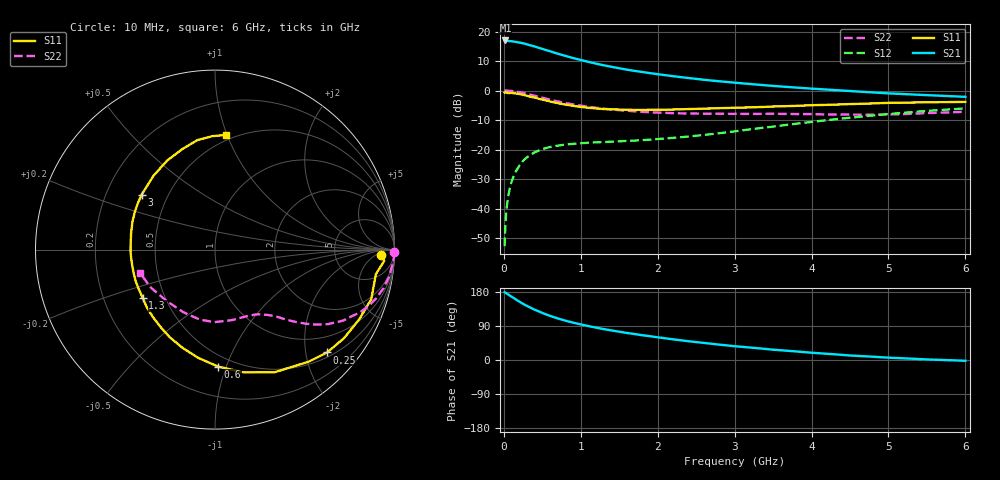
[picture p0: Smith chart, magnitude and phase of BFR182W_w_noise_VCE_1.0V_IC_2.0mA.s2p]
! Infineon Technologies  Discrete & RF Semiconductors
! BFR182W
! VCE =  1.0 V,  IC =  2.0 mA
! Common Emitter S-Parameters:  Jan 2017
# GHz  S  MA  R  50
!  f  S11  S21  S12  S22
! GHz  MAG  ANG  MAG  ANG  MAG  ANG  MAG  ANG
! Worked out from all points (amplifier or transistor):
!   77 points, 10 MHz to 6 GHz, reference 50 ohm
!   highest |S21| = 17.0 dB at 20 MHz (marker M1)
!   |S21| within 3 dB of that: start of sweep to 517.4 MHz
!   unconditionally stable (mu >= 1): 1.701 GHz to 3.509 GHz
!   at 130 MHz: K = 0.09, MSG = 22.7 dB, |S12| = -28.9 dB
!   at 2.2 GHz: K = 1.11, MAG = 8.5 dB, |S12| = -16.0 dB
!   at 6 GHz: K = 0.89, MSG = 2.0 dB, |S12| = -6.1 dB
!   lowest NFmin = 0.85 dB at 450 MHz
!   S11 on the Smith chart (normalised r, x): 10 MHz: 22, -9; 250 MHz: 0.60, -2.44; 600 MHz: 0.41, -0.94; 1.3 GHz: 0.37, -0.26; 3 GHz: 0.36, +0.30; 6 GHz: 0.46, +0.99
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0.01  0.9249 -1.9  6.927 178.9  0.0023 89.0  1 -0.8
0.02  0.945 -3.8  7.051 177.7  0.0053 94.3  0.9996 -1.9
0.05  0.9067 -8.7  6.934 173.7  0.014 83.3  0.9935 -4.4
0.09  0.9104 -15.8  6.855 168.4  0.0254 80.3  0.9836 -7.9
0.15  0.8924 -25.9  6.688 160.7  0.0412 74.9  0.9632 -12.9
0.25  0.8478 -42.5  6.317 148.2  0.0643 66.0  0.9113 -20.3
0.3  0.814 -50.1  6.058 142.7  0.0738 62.3  0.8787 -23.5
0.4  0.76 -64.0  5.58 132.7  0.0897 55.6  0.816 -29.0
0.5  0.7029 -76.8  5.072 124.1  0.1016 50.4  0.7545 -33.4
0.6  0.6516 -88.5  4.627 116.4  0.1104 46.1  0.7009 -36.6
0.7  0.6109 -98.7  4.207 109.8  0.1161 43.0  0.6536 -39.2
0.8  0.5768 -108.2  3.866 103.8  0.1215 40.9  0.6142 -41.3
0.9  0.5498 -117.3  3.549 98.6  0.1248 38.8  0.5814 -43.1
1.1  0.5102 -132.9  3.056 89.5  0.1302 37.2  0.53 -46.0
1.3  0.4845 -146.3  2.671 81.5  0.1339 36.7  0.4924 -48.7
1.6  0.4717 -163.8  2.255 71.3  0.1399 37.9  0.4552 -52.9
2.1  0.4725 173.0  1.817 57.3  0.154 42.9  0.4176 -61.3
3  0.5109 143.1  1.358 36.3  0.2029 50.7  0.4025 -79.6
3.1  0.5135 140.3  1.323 34.7  0.2112 51.0  0.4017 -81.8
4.1  0.5673 116.0  1.056 17.8  0.3037 49.9  0.3952 -105.3
5.1  0.6196 97.6  0.882 5.3  0.4095 41.8  0.3955 -137.0
6  0.6413 84.6  0.781 -2.1  0.4978 31.7  0.4374 -162.6
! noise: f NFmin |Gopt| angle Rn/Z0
0.45  0.85  0.5  30  0.26
0.9  0.99  0.4  58  0.24
1.9  1.74  0.3  142  0.14
2.4  2.11  0.26  164  0.19
